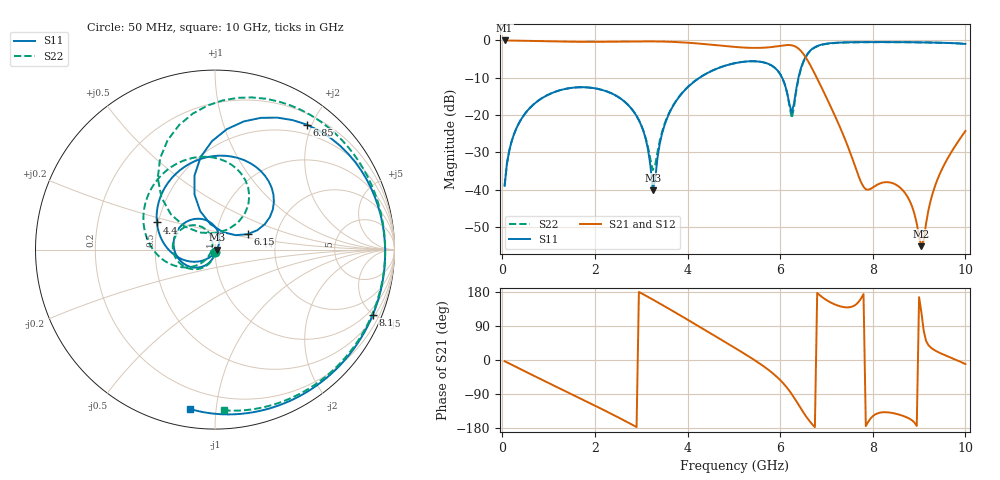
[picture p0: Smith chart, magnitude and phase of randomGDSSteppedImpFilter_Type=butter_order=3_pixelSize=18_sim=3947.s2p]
! freq	dB(S11)	phase(S11)	dB(S12)	phase(S12)
!  dB(S21)	phase(S21)	dB(S22)	phase(S22)
!S-par simulation data
#  GHz  S  DB  R 50
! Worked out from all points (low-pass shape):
!   200 points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, 50 MHz to 10 GHz, reference 50 ohm
!   highest |S21| = -0.01 dB at 50 MHz (marker M1); lowest = -55.1 dB at 9.05 GHz (marker M2)
!   |S21| within 3 dB of the highest: start of sweep to 6.461 GHz
!   lowest |S11| = -40.1 dB at 3.25 GHz (marker M3), VSWR 1.02, Z = 51 - j0.0812 ohm
!   |S11| at or under -10 dB: start of sweep to 4.26 GHz; 6.044 GHz to 6.395 GHz (351.4 MHz wide, 5.65 % of centre)
!   |S22| runs from -39.0 to -0.5 dB; largest |S21 - S12| = 0
!   S11 on the Smith chart (normalised r, x): 50 MHz: 1.00, -0.02; 4.4 GHz: 0.49, +0.17; 6.15 GHz: 1.42, +0.25; 6.85 GHz: 0.35, +1.92; 8.1 GHz: 0.64, -4.94; 10 GHz: 0.09, -0.85
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0.05  -38.96 -92.3  -0.01 -3.1  -0.01 -3.1  -38.96 -91.9
0.5  -19.47 -122.6  -0.09 -30.6  -0.09 -30.6  -19.47 -119.4
1.75  -12.54 158.1  -0.38 -105.4  -0.38 -105.4  -12.53 170.2
2.85  -19.29 83.2  -0.27 -173.7  -0.27 -173.7  -19.28 111.7
3.1  -26.52 59.8  -0.26 169.7  -0.26 169.7  -26.25 108.1
3.25  -40.13 -4.6  -0.26 159.5  -0.26 159.5  -34.74 157.0
3.4  -27.69 -119.7  -0.29 149.1  -0.29 149.1  -26.88 -135.8
4.4  -8.94 155.0  -1.01 77.4  -1.01 77.4  -8.91 176.8
5.05  -6.03 106.1  -1.77 29.9  -1.77 29.9  -6.03 132.3
5.7  -6.07 55.9  -1.90 -21.6  -1.90 -21.6  -6.08 83.6
6.15  -13.96 25.3  -1.23 -73.5  -1.23 -73.5  -14.12 49.6
6.25  -19.41 65.5  -1.31 -90.0  -1.31 -90.0  -20.83 90.3
6.45  -7.37 105.5  -2.83 -128.4  -2.83 -128.4  -7.60 135.7
6.7  -2.19 70.8  -7.77 -170.6  -7.77 -170.6  -2.30 99.3
6.85  -1.27 53.7  -11.48 171.6  -11.48 171.6  -1.36 81.4
7.8  -0.44 -8.9  -39.21 174.0  -39.21 174.0  -0.48 14.2
8.1  -0.43 -22.5  -38.65 -141.0  -38.65 -141.0  -0.46 -1.0
8.35  -0.44 -33.0  -38.01 -138.5  -38.01 -138.5  -0.46 -12.7
8.8  -0.48 -50.6  -43.04 -155.4  -43.04 -155.4  -0.49 -32.6
9.05  -0.51 -60.0  -55.12 125.8  -55.12 125.8  -0.52 -43.1
9.4  -0.59 -73.2  -37.15 21.5  -37.15 21.5  -0.60 -57.9
10  -0.93 -99.1  -24.27 -10.7  -24.27 -10.7  -0.94 -86.7
